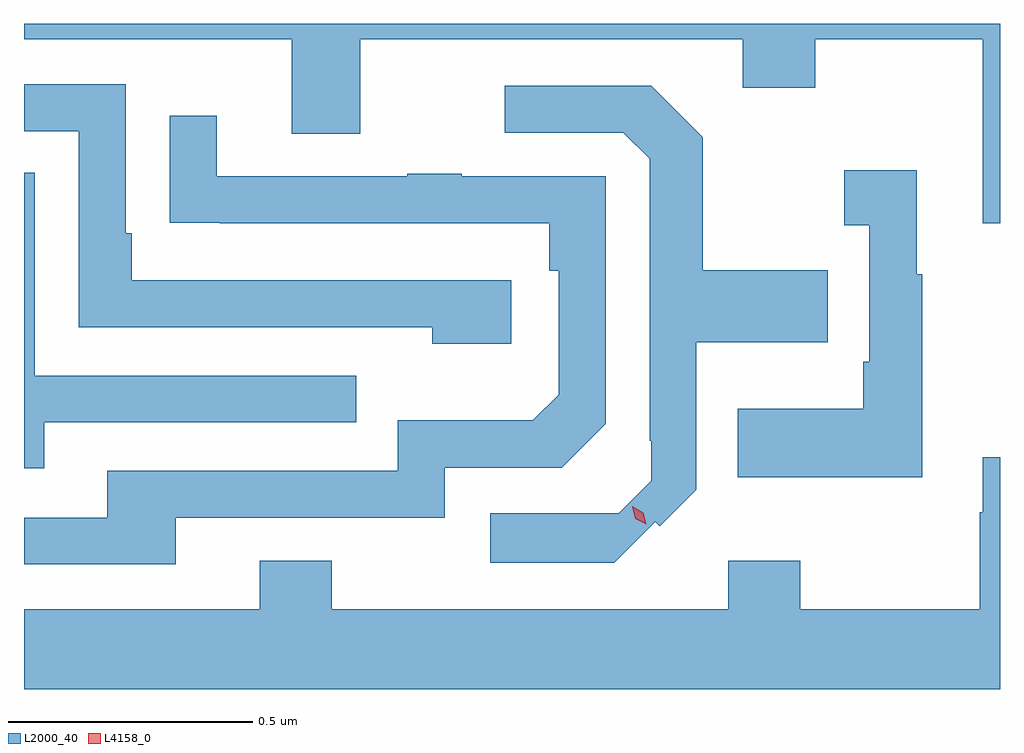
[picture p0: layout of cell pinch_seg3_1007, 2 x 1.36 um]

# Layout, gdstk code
import gdstk
lib = gdstk.Library(unit=1e-6, precision=1e-09)
def P(c, l, *ps):  # polygons
    for p in ps: c.add(gdstk.Polygon(p, *l))
L2000_40 = (2000, 40)
L4158_0 = (4158, 0)

pinch_seg3_1007 = lib.new_cell('pinch_seg3_1007')
P(pinch_seg3_1007, L2000_40, [(507.41,748.868),(507.959,748.868),(507.959,748.674),(508.099,748.674),(508.099,748.868),(508.883,748.868),(508.883,748.769),(509.031,748.769),(509.031,748.868),(509.375,748.868),(509.375,748.491),(509.41,748.491),(509.41,748.9),(507.41,748.9)],
  [(508.408,748.374),(507.631,748.374),(507.631,748.471),(507.618,748.471),(507.618,748.776),(507.41,748.776),(507.41,748.68),(507.522,748.68),(507.522,748.278),(508.247,748.278),(508.247,748.244),(508.408,748.244)],
  [(508.704,747.879),(508.713,747.87),(508.788,747.945),(508.788,748.247),(509.057,748.247),(509.057,748.395),(508.801,748.395),(508.801,748.667),(508.695,748.773),(508.395,748.773),(508.395,748.677),(508.638,748.677),(508.692,748.623),(508.692,748.045),(508.695,748.045),(508.695,747.963),(508.629,747.897),(508.365,747.897),(508.365,747.795),(508.62,747.795)],
  [(507.721,747.888),(508.272,747.888),(508.272,747.99),(508.512,747.99),(508.602,748.08),(508.602,748.587),(508.307,748.587),(508.307,748.592),(508.195,748.592),(508.195,748.587),(507.805,748.587),(507.805,748.711),(507.709,748.711),(507.709,748.492),(507.811,748.492),(507.811,748.491),(508.486,748.491),(508.486,748.394),(508.506,748.394),(508.506,748.14),(508.453,748.087),(508.176,748.087),(508.176,747.984),(507.581,747.984),(507.581,747.888),(507.41,747.888),(507.41,747.792),(507.721,747.792)],
  [(509.251,748.387),(509.239,748.387),(509.239,748.6),(509.091,748.6),(509.091,748.487),(509.142,748.487),(509.142,748.207),(509.13,748.207),(509.13,748.111),(508.873,748.111),(508.873,747.971),(509.251,747.971)],
  [(507.451,748.083),(508.091,748.083),(508.091,748.179),(507.432,748.179),(507.432,748.595),(507.41,748.595),(507.41,747.989),(507.451,747.989)],
  [(509.41,748.012),(509.375,748.012),(509.375,747.899),(509.368,747.899),(509.368,747.7),(509.001,747.7),(509.001,747.799),(508.853,747.799),(508.853,747.7),(508.041,747.7),(508.041,747.799),(507.893,747.799),(507.893,747.7),(507.41,747.7),(507.41,747.536),(509.41,747.536)])
P(pinch_seg3_1007, L4158_0, [(508.685,747.874),(508.663,747.886),(508.656,747.911),(508.656,747.911),(508.656,747.911),(508.679,747.898),(508.685,747.874),(508.685,747.874)])

lib.write_gds('pinch_seg3_1007.gds')
